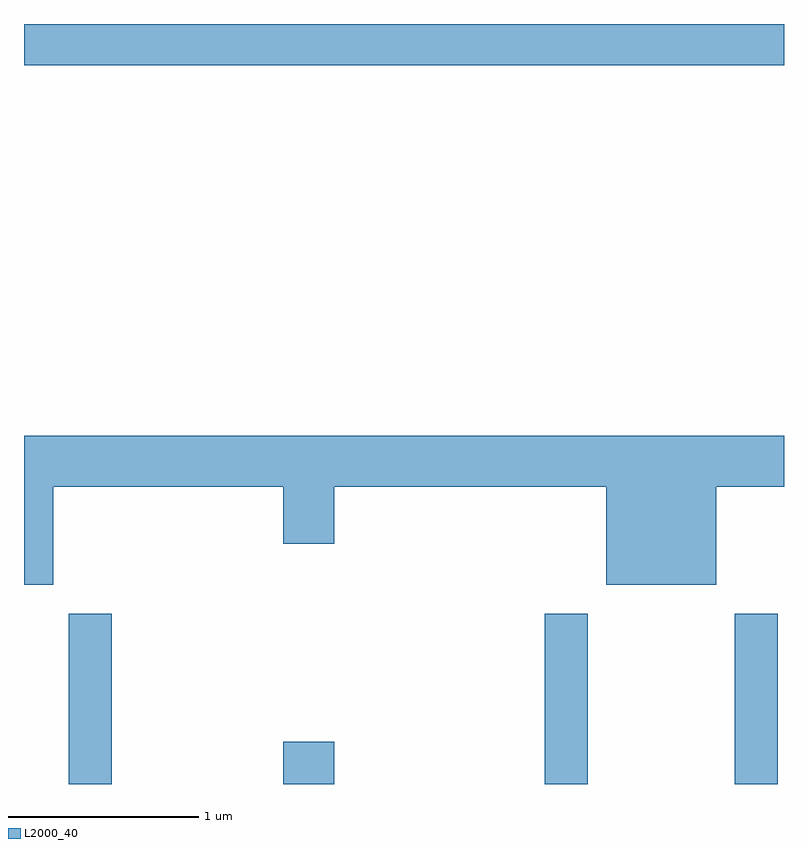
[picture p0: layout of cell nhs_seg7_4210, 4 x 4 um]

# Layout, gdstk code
import gdstk
lib = gdstk.Library(unit=1e-6, precision=1e-09)
def R(c, l, rs):  # rectangles x0, y0, x1, y1
    for r in rs: c.add(gdstk.rectangle(r[:2], r[2:], *l))
def P(c, l, *ps):  # polygons
    for p in ps: c.add(gdstk.Polygon(p, *l))
L2000_40 = (2000, 40)

nhs_seg7_4210 = lib.new_cell('nhs_seg7_4210')
R(nhs_seg7_4210, L2000_40, [(313.846,1768.252,314.074,1769.149), (314.976,1768.252,315.244,1768.474), (316.351,1768.252,316.579,1769.149), (317.351,1768.252,317.579,1769.149), (313.611,1772.036,317.611,1772.252)])
P(nhs_seg7_4210, L2000_40, [(313.764,1769.816),(314.976,1769.816),(314.976,1769.516),(315.244,1769.516),(315.244,1769.816),(316.676,1769.816),(316.676,1769.301),(317.254,1769.301),(317.254,1769.816),(317.611,1769.816),(317.611,1770.084),(313.611,1770.084),(313.611,1769.301),(313.764,1769.301)])

lib.write_gds('nhs_seg7_4210.gds')
